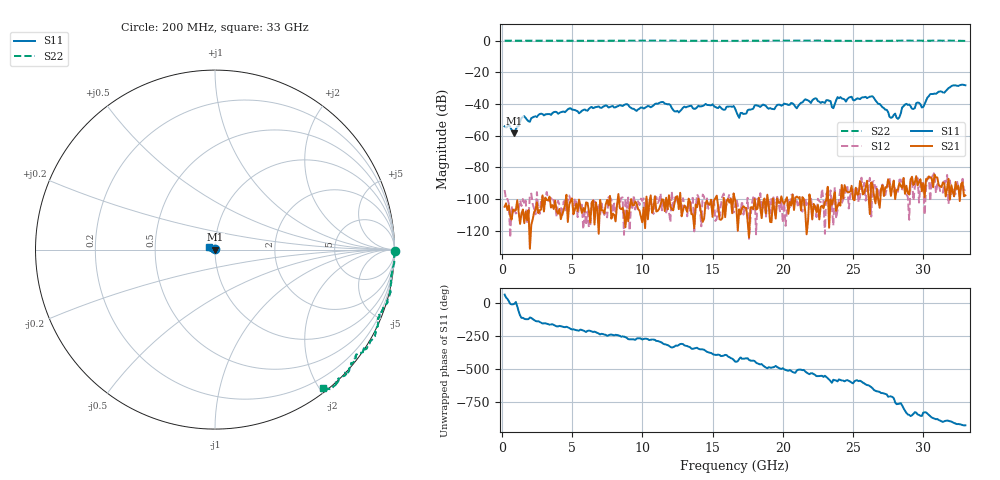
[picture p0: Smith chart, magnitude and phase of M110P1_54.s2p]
# GHZ S RI R 50
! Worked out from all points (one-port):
!   329 points, 200 MHz to 33 GHz, reference 50 ohm
!   lowest |S11| = -58.6 dB at 900 MHz (marker M1), VSWR 1.00, Z = 50.1 - j0.00754 ohm
!   |S11| at or under -10 dB: start of sweep to end of sweep
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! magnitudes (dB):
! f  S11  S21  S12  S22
! 200 MHz  -54.2  -105.0  -94.4  0.0
! 900 MHz  -58.6  -107.5  -106.7  0.0
! 1.6 GHz  -47.8  -115.4  -103.3  0.0
! 2 GHz  -51.2  -131.5  -97.5  0.0
! 5.7 GHz  -44.3  -108.9  -103.6  -0.1
! 11.2 GHz  -39.4  -106.2  -101.0  0.0
! 12.6 GHz  -45.4  -106.5  -104.4  0.0
! 14.5 GHz  -40.0  -103.3  -106.0  -0.1
! 16.6 GHz  -42.8  -100.3  -105.1  -0.1
! 16.9 GHz  -48.8  -106.5  -110.0  -0.1
! 18.1 GHz  -40.8  -106.7  -122.4  0.0
! 21 GHz  -42.8  -98.5  -101.4  0.1
! 22.1 GHz  -37.7  -113.0  -105.8  0.1
! 23.4 GHz  -38.3  -100.4  -94.6  -0.1
! 23.6 GHz  -42.7  -99.9  -116.8  0.0
! 23.9 GHz  -35.7  -104.7  -106.9  0.0
! 26.4 GHz  -35.2  -91.4  -89.2  -0.1
! 27.6 GHz  -48.1  -90.6  -86.5  -0.1
! 28.8 GHz  -39.9  -91.7  -97.2  0.1
! 29.9 GHz  -42.3  -95.2  -89.9  0.0
! 30.5 GHz  -33.7  -86.3  -101.5  0.0
! 33 GHz  -28.2  -97.8  -94.4  -0.2
